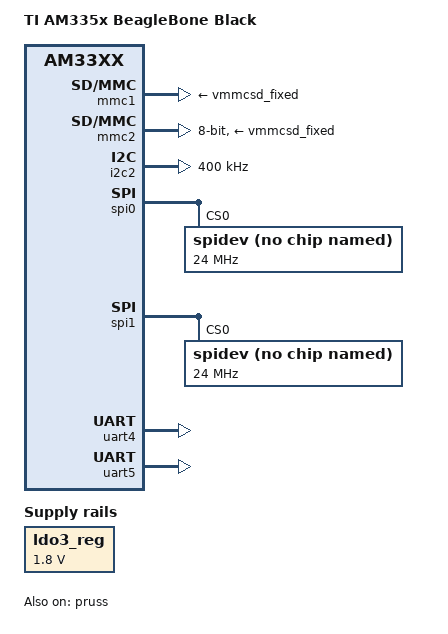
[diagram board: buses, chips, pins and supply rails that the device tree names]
/*
 * Copyright (C) 2012 Texas Instruments Incorporated - http://www.ti.com/
 *                    Modified by Mirko Denecke <mirkix@gmail.com>
 *
 * This program is free software; you can redistribute it and/or modify
 * it under the terms of the GNU General Public License version 2 as
 * published by the Free Software Foundation.
 */
/dts-v1/;

#include "am33xx.dtsi"
#include "am335x-bone-common.dtsi"
#include <dt-bindings/board/am335x-bbw-bbb-base.h>
#include <dt-bindings/pinctrl/am33xx.h>

/{
	model = "TI AM335x BeagleBone Black";
	compatible = "ti,am335x-bone-black", "ti,am335x-bone", "ti,am33xx";
};

&ldo3_reg {
	regulator-min-microvolt = <1800000>;
	regulator-max-microvolt = <1800000>;
	regulator-always-on;
};

&mmc1 {
	vmmc-supply = <&vmmcsd_fixed>;
};

&mmc2 {
	vmmc-supply = <&vmmcsd_fixed>;
	pinctrl-names = "default";
	pinctrl-0 = <&emmc_pins>;
	bus-width = <8>;
	status = "okay";
};

&am33xx_pinmux {
	pru_pins: pinmux_pru_pins {
		pinctrl-single,pins = <
			//0x03c 0x35	/* ecap0_in_pwm0_out.pr1_ecap0_ecap_capin, MODE5 | INPUT_PULLUP | PRU, PPM-sum, SBUS, DSM  */
			0x03c 0x2E	/* gpmc_ad13.pr1_pru0_pru_r30_15, MODE6 | INPUT | PRU, PPM-sum, SBUS, DSM */

			0x0e8 0x25	/* lcd_pclk.pr1_pru1_pru_r30_10, MODE5 | OUTPUT | PRU, CH_1 */
			0x0e0 0x25	/* lcd_vsync.pr1_pru1_pru_r30_8, MODE5 | OUTPUT | PRU, CH_2 */
			0x0ec 0x25	/* lcd_ac_bias_en.pr1_pru1_pru_r30_11, MODE5 | OUTPUT | PRU, CH_3 */
			0x0e4 0x25	/* lcd_hsync.pr1_pru1_pru_r30_9, MODE5 | OUTPUT | PRU, CH_4 */
			0x0bc 0x25	/* lcd_data7.pr1_pru1_pru_r30_7, MODE5 | OUTPUT | PRU, CH_5 */
			0x0b8 0x25	/* lcd_data6.pr1_pru1_pru_r30_6, MODE5 | OUTPUT | PRU, CH_6 */
			0x0b4 0x25	/* lcd_data5.pr1_pru1_pru_r30_5, MODE5 | OUTPUT | PRU, CH_7 */
			0x0b0 0x25	/* lcd_data4.pr1_pru1_pru_r30_4, MODE5 | OUTPUT | PRU, CH_8 */
			0x0ac 0x25	/* lcd_data3.pr1_pru1_pru_r30_3, MODE5 | OUTPUT | PRU, CH_9 */
			0x0a8 0x25	/* lcd_data2.pr1_pru1_pru_r30_2, MODE5 | OUTPUT | PRU, CH_10 */
			0x0a4 0x25	/* lcd_data1.pr1_pru1_pru_r30_1, MODE5 | OUTPUT | PRU, CH_11 */
			0x0a0 0x25	/* lcd_data0.pr1_pru1_pru_r30_0, MODE5 | OUTPUT | PRU, CH_12 */

			/*BONE_P8_12 (PIN_OUTPUT_PULLDOWN | MUX_MODE6)*/ /* HC-SR04 TRIG */
			/*BONE_P8_16 (PIN_INPUT_PULLDOWN | MUX_MODE6)*/ /* HC-SR04 ECHO */

			/*BONE_P9_25 (PIN_INPUT_PULLDOWN | MUX_MODE6)*/ /* MPU9250 INT */
		>;
	};

	spi0_pins: pinmux_spi0_pins {
		pinctrl-single,pins = <
                  0x150 0x30  /* spi0_sclk, SPI0_SCLK P9_22 */
                  0x154 0x10  /* spi0_d0, SPI0_MOSI  P9_21 */
                  0x158 0x30  /* spi0_d1, SPI0_MISO P9_18 */
                  /* setup a dummy CS for the SPI driver to use, then
                     setup pin modes for the two real CS lines to
                     set them pull-up */
                  0x054 0x07  /* led pin, dummy CS */
                  0x15C 0x37  /* LSM9DSO_AM CS P9_17 */
                  0x09C 0x37  /* LSM9DSO_G CS P8_9 */	
		>;
	};

	spi1_pins: pinmux_spi1_pins {
		pinctrl-single,pins = <
                0x190 0x33      /* mcasp0_aclkx.spi1_sclk, SPI1_SCLK P9_31 */
                0x194 0x13      /* mcasp0_fsx.spi1_d0, SPI1_MOSI P9_29 */
                0x198 0x33      /* mcasp0_axr0.spi1_d1, SPI1_MISO P9_30 */
                /* setup a dummy CS for the SPI driver to use, then
                   setup pin modes for the four real CS lines to
                   set them pull-up */
                0x058 0x07      /* dummy CS */
				0x164 0x37      /* P9_42 MS5611 CS */
				0x19C 0x37      /* P9_28 MPU6000 CS */
				0x044 0x37      /* P9_23 MPU9250 CS */
				0x030 0x37      /* P8_12 FRAM CS */
		>;
	};

	uart4_pins: pinmux_uart4_pins {
		pinctrl-single,pins = <
			/* P9_11: gpmc_wait0.uart4_rxd_mux2 */
			BONE_P9_11 (PIN_INPUT_PULLUP | MUX_MODE6)
			/* P9_13: gpmc_wpn.uart4_txd_mux2  */
			BONE_P9_13 (PIN_OUTPUT_PULLDOWN | MUX_MODE6)
		>;
	};

	uart5_pins: pinmux_uart5_pins {
		pinctrl-single,pins = <
			/* P8_38: lcd_data9.uart5_rxd */
			BONE_P8_38 (PIN_INPUT_PULLUP | MUX_MODE4)
			/* P8_37: lcd_data8.uart5_txd */
			BONE_P8_37 (PIN_OUTPUT_PULLDOWN | MUX_MODE4)
		>;
	};
};


&i2c2 {
	clock-frequency = <400000>;
};

&spi0 {
        pinctrl-names = "default";
	    pinctrl-0 = <&spi0_pins>;
        ti,pindir-d0-out-d1-in = <1>;
        status = "okay";
        spidev@0 {
                 spi-max-frequency = <24000000>;
                 reg = <0>;
                 compatible = "linux,spidev";
            };
};

&spi1 {
	pinctrl-names = "default";
	pinctrl-0 = <&spi1_pins>;
	status = "okay";
        ti,pindir-d0-out-d1-in = <1>;
        spidev@1 {
                 spi-max-frequency = <24000000>;
                 reg = <0>;
                 compatible = "linux,spidev";
            };
};

&tscadc {
	adc {
		ti,adc-channels = <0 1>;
	};
};

&pruss {
	pinctrl-names = "default";
	pinctrl-0 = <&pru_pins>;
	status = "okay";
};

&uart4 {
	pinctrl-names = "default";
	pinctrl-0 = <&uart4_pins>;
	status = "okay";
};

&uart5 {
	pinctrl-names = "default";
	pinctrl-0 = <&uart5_pins>;
	status = "okay";
};
